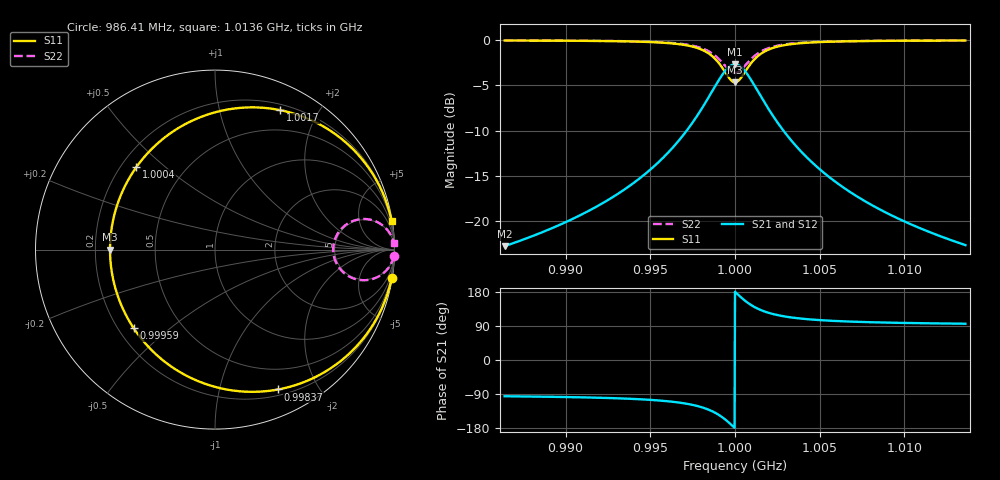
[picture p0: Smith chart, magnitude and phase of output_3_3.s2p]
! File generated for n1 = 3, n2 = 3
! b1 = 21.544347
! b2 = 4.641589
! Q0 = 10000.000000
! f0 = 1000000000.000000
! n = 1001
! rel_span = 10.000000
# Hz S RI R 50
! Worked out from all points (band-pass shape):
!   1001 points, 986.41 MHz to 1.0136 GHz, reference 50 ohm
!   highest |S21| = -2.67 dB at 1 GHz (marker M1); lowest = -22.8 dB at 986.41 MHz (marker M2)
!   |S21| within 3 dB of the highest: 998.6448 MHz to 1.001357 GHz (2.712 MHz wide, 0.271 % of centre)
!   lowest |S11| = -4.7 dB at 1 GHz (marker M3), VSWR 3.82, Z = 13.1 + j0 ohm
!   |S11| at or under -10 dB: nowhere
!   |S22| runs from -3.6 to 0.0 dB; largest |S21 - S12| = 0
!   S11 on the Smith chart (normalised r, x): 986.41 MHz: 0, -13; 998.37 MHz: 0.26, -1.52; 999.59 MHz: 0.26, -0.38; 1.0004 GHz: 0.26, +0.40; 1.0017 GHz: 0.26, +1.54; 1.0136 GHz: 0, +13
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9.86407e8  0.9845 -0.1559  -0.00719 -0.0724  -0.00719 -0.0724  0.9967 -0.0336
9.909471e8  0.9654 -0.2317  -0.0161 -0.1076  -0.0161 -0.1076  0.9925 -0.0499
9.935297e8  0.9334 -0.318  -0.0309 -0.1476  -0.0309 -0.1476  0.9857 -0.0685
9.954871e8  0.8687 -0.4369  -0.0609 -0.2028  -0.0609 -0.2028  0.9717 -0.0941
9.97227e8  0.6936 -0.6259  -0.1422 -0.2905  -0.1422 -0.2905  0.934 -0.1348
9.978523e8  0.5474 -0.7159  -0.2101 -0.3323  -0.2101 -0.3323  0.9025 -0.1542
9.983688e8  0.3511 -0.7794  -0.3012 -0.3618  -0.3012 -0.3618  0.8602 -0.1679
9.990485e8  -0.0634 -0.7447  -0.4936 -0.3457  -0.4936 -0.3457  0.7709 -0.1604
9.993204e8  -0.2678 -0.6341  -0.5885 -0.2943  -0.5885 -0.2943  0.7269 -0.1366
9.995922e8  -0.454 -0.4363  -0.6749 -0.2025  -0.6749 -0.2025  0.6867 -0.094
1e9  -0.585 0  -0.7357 0  -0.7357 0  0.6585 0
1.000217e9  -0.5454 0.2472  -0.7173 0.1148  -0.7173 0.1148  0.6671 0.0533
1.000435e9  -0.4378 0.46  -0.6674 0.2135  -0.6674 0.2135  0.6902 0.0991
1.00068e9  -0.2681 0.6339  -0.5886 0.2942  -0.5886 0.2942  0.7268 0.1366
1.000952e9  -0.0641 0.7445  -0.4939 0.3456  -0.4939 0.3456  0.7708 0.1604
1.001251e9  0.1411 0.7897  -0.3987 0.3665  -0.3987 0.3665  0.815 0.1701
1.001658e9  0.3624 0.7772  -0.2959 0.3607  -0.2959 0.3607  0.8626 0.1674
1.002175e9  0.5541 0.7127  -0.207 0.3308  -0.207 0.3308  0.9039 0.1535
1.0028e9  0.697 0.6232  -0.1406 0.2893  -0.1406 0.2893  0.9347 0.1343
1.00454e9  0.8691 0.4363  -0.0608 0.2025  -0.0608 0.2025  0.9718 0.094
1.00908e9  0.965 0.2331  -0.0163 0.1082  -0.0163 0.1082  0.9924 0.0502
1.013593e9  0.9841 0.158  -0.00738 0.0733  -0.00738 0.0733  0.9966 0.034
